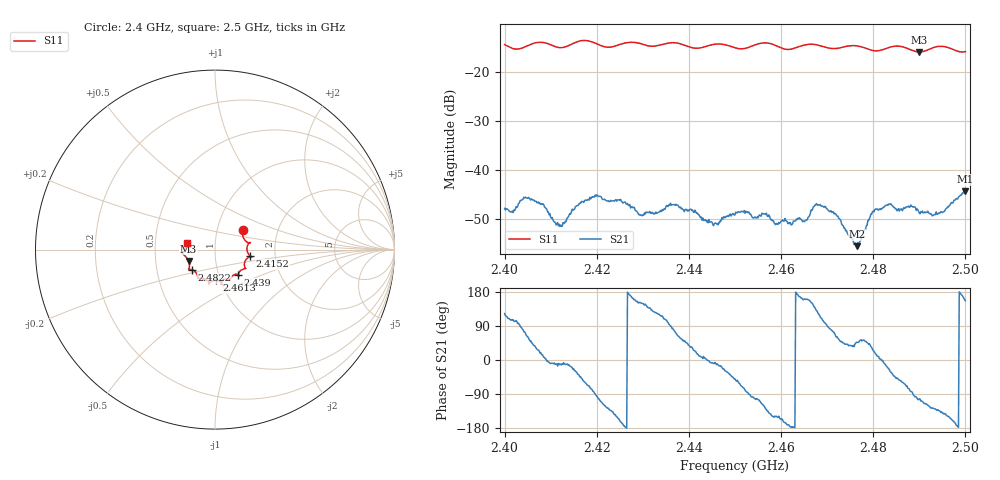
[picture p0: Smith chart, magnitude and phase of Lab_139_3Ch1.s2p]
# Hz S RI R 50
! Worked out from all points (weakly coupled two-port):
!   601 points, 2.4 GHz to 2.5 GHz, reference 50 ohm
!   highest |S21| = -44.23 dB at 2.5 GHz (marker M1); lowest = -55.4 dB at 2.4765 GHz (marker M2)
!   lowest |S11| = -15.9 dB at 2.49 GHz (marker M3), VSWR 1.38, Z = 36.9 - j4.84 ohm
!   |S11| at or under -10 dB: start of sweep to end of sweep
!   S12 and S22 are empty: the file has one direction only
!   S11 on the Smith chart (normalised r, x): 2.4 GHz: 1.33, +0.30; 2.4152 GHz: 1.48, -0.11; 2.439 GHz: 1.24, -0.36; 2.4613 GHz: 0.96, -0.34; 2.4822 GHz: 0.76, -0.17; 2.5 GHz: 0.73, +0.05
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2.4e9  0.1553 0.1106  -0.00221 0.00345  0 0  0 0
2.405e9  0.1817 0.0396  0.0025 0.00456  0 0  0 0
2.412167e9  0.1774 0.00416  0.00272 -0.000522  0 0  0 0
2.415167e9  0.1955 -0.036  0.00353 -0.00189  0 0  0 0
2.416667e9  0.2052 -0.0421  0.00322 -0.00358  0 0  0 0
2.420167e9  0.1882 -0.0429  -0.000755 -0.00549  0 0  0 0
2.429667e9  0.1618 -0.1075  -0.00302 0.00176  0 0  0 0
2.433333e9  0.132 -0.1327  -0.00191 0.0032  0 0  0 0
2.439e9  0.1276 -0.1387  0.00251 0.00285  0 0  0 0
2.445833e9  0.0851 -0.1733  0.00286 -0.000502  0 0  0 0
2.45e9  0.0685 -0.1635  0.00227 -0.0027  0 0  0 0
2.461333e9  0.00754 -0.1701  -0.00298 -0.000453  0 0  0 0
2.465167e9  -0.0325 -0.1867  -0.00289 0.00099  0 0  0 0
2.466667e9  -0.0331 -0.1898  -0.0034 0.0019  0 0  0 0
2.471333e9  -0.0573 -0.164  0.00104 0.00365  0 0  0 0
2.4765e9  -0.0945 -0.1591  0.00116 0.00122  0 0  0 0
2.48e9  -0.1066 -0.1269  0.00349 0.00161  0 0  0 0
2.482167e9  -0.128 -0.1121  0.00419 -0.000348  0 0  0 0
2.483333e9  -0.1394 -0.1105  0.00416 -0.00181  0 0  0 0
2.49e9  -0.1471 -0.0639  -0.000785 -0.00358  0 0  0 0
2.495e9  -0.1822 -0.0208  -0.00282 -0.00241  0 0  0 0
2.5e9  -0.1583 0.0341  -0.00563 0.00247  0 0  0 0
